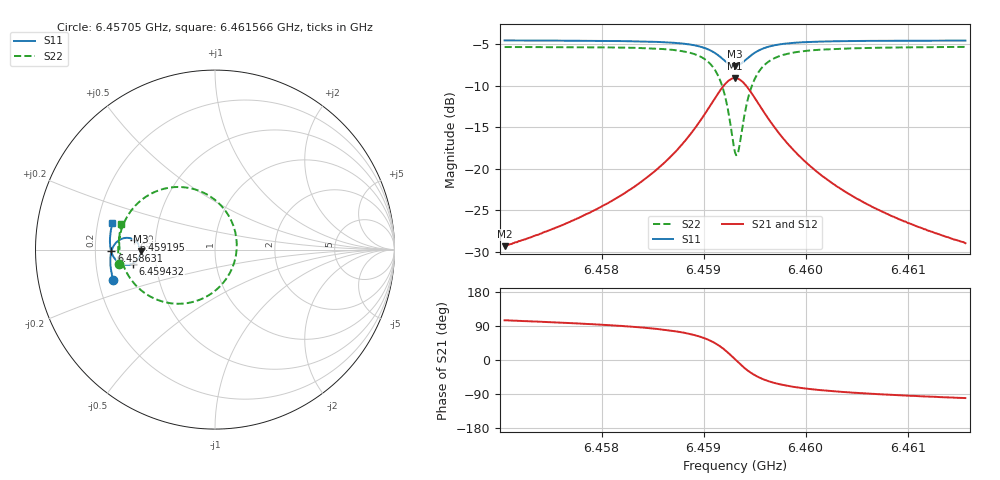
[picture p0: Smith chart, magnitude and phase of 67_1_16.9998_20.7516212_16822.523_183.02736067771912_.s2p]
#  HZ  S  RI  R  50.00
! Rohde & Schwarz Vector Network Analyzer
! Rohde-Schwarz,ZNB20-2Port,1311601062101988,3.16
! Created: UTC 3/20/2024, 10:55:03 PM
! freq[Hz]  re:S11  im:S11  re:S21  im:S21  re:S12  im:S12  re:S22  im:S22
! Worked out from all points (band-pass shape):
!   401 points, 6.45705 GHz to 6.461566 GHz, reference 50 ohm
!   highest |S21| = -9.09 dB at 6.459308 GHz (marker M1); lowest = -29.3 dB at 6.45705 GHz (marker M2)
!   |S21| within 3 dB of the highest: 6.459081 GHz to 6.459534 GHz (452.3 kHz wide, 0.007 % of centre)
!   lowest |S11| = -7.6 dB at 6.459308 GHz (marker M3), VSWR 2.42, Z = 20.7 - j0.515 ohm
!   |S11| at or under -10 dB: nowhere
!   |S22| runs from -18.4 to -5.3 dB; largest |S21 - S12| = 0.014
!   S11 on the Smith chart (normalised r, x): 6.45705 GHz: 0.26, -0.14; 6.458631 GHz: 0.27, -0.01; 6.459195 GHz: 0.38, +0.05; 6.459432 GHz: 0.37, -0.07; 6.461566 GHz: 0.26, +0.12
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6.4570498e9  -0.5676 -0.168  -0.00869 0.0331  -0.00707 0.0331  -0.5347 -0.0775
6.4578063e9  -0.5809 -0.1015  -0.00529 0.0514  -0.00263 0.0507  -0.5389 0.0124
6.458224e9  -0.5835 -0.0592  0.000938 0.0711  0.00419 0.0697  -0.5298 0.0796
6.4585628e9  -0.5793 -0.0182  0.015 0.1004  0.0191 0.0976  -0.5032 0.1576
6.4586305e9  -0.577 -0.00877  0.0206 0.109  0.0246 0.1057  -0.4927 0.1776
6.4588225e9  -0.5641 0.0218  0.0478 0.1403  0.052 0.1352  -0.4417 0.2469
6.4589692e9  -0.5409 0.048  0.0942 0.171  0.0972 0.1643  -0.3563 0.3114
6.4591047e9  -0.4961 0.0654  0.1831 0.1872  0.1839 0.1799  -0.1938 0.3487
6.4591951e9  -0.4506 0.0545  0.2744 0.1549  0.2745 0.1489  -0.0253 0.2953
6.4592628e9  -0.4212 0.0215  0.3351 0.081  0.3374 0.0758  0.0903 0.1622
6.459308e9  -0.4144 -0.0103  0.351 0.0119  0.3549 0.00489  0.1212 0.0327
6.4593418e9  -0.4186 -0.0345  0.3447 -0.0414  0.3489 -0.0506  0.1083 -0.068
6.459387e9  -0.4346 -0.061  0.3153 -0.102  0.3175 -0.114  0.0483 -0.1819
6.4594322e9  -0.4571 -0.0776  0.2723 -0.1431  0.2714 -0.1566  -0.0389 -0.2568
6.4595225e9  -0.5012 -0.0845  0.1861 -0.1741  0.1797 -0.1857  -0.2102 -0.3016
6.4595902e9  -0.5259 -0.0773  0.1372 -0.1717  0.129 -0.1808  -0.3046 -0.2856
6.4596693e9  -0.5457 -0.0641  0.0972 -0.1595  0.0885 -0.1657  -0.3794 -0.2503
6.4598274e9  -0.5676 -0.0365  0.0518 -0.1309  0.0441 -0.1337  -0.4601 -0.177
6.4600645e9  -0.5806 -0.000911  0.0225 -0.0988  0.0165 -0.0994  -0.5081 -0.0936
6.4603806e9  -0.5852 0.0374  0.00687 -0.0729  0.00276 -0.0724  -0.5286 -0.0187
6.460821e9  -0.5837 0.0821  -0.0015 -0.0527  -0.00442 -0.0518  -0.5335 0.054
6.4615662e9  -0.5719 0.1486  -0.00645 -0.035  -0.00827 -0.0341  -0.5222 0.143
